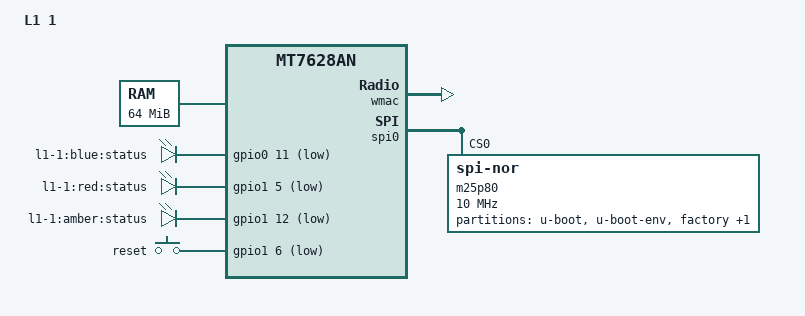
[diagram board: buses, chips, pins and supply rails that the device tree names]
/dts-v1/;

#include "mt7628an.dtsi"

#include <dt-bindings/gpio/gpio.h>
#include <dt-bindings/input/input.h>

/ {
	compatible = "cmcc,l1-1", "mediatek,mt7628an-soc";
	model = "L1	1";

	aliases {
		led-boot = &led_blue;
		led-failsafe = &led_blue;
		led-running = &led_blue;
		led-upgrade = &led_blue;
	};

	chosen {
		bootargs = "console=ttyS0,115200";
	};

	memory@0 {
		device_type = "memory";
		reg = <0x0 0x4000000>;
	};

	leds {
		compatible = "gpio-leds";

		led_blue: status_blue {
			label = "l1-1:blue:status";
			gpios = <&gpio0 11 GPIO_ACTIVE_LOW>;
		};
		status_red {
			label = "l1-1:red:status";
			gpios = <&gpio1 5 GPIO_ACTIVE_LOW>;
		};
		status_amber {
			label = "l1-1:amber:status";
			gpios = <&gpio1 12 GPIO_ACTIVE_LOW>;
		};
	};

	keys {
		compatible = "gpio-keys-polled";
		poll-interval = <20>;

		reset {
			label = "reset";
			gpios = <&gpio1 6 GPIO_ACTIVE_LOW>;
			linux,code = <KEY_RESTART>;
		};
	};
};

&pinctrl {
	state_default: pinctrl0 {
		gpio {
			ralink,group = "refclk", "wled_an", "gpio";
			ralink,function = "gpio";
		};
	};
};

&wmac {
	status = "okay";
};

&ethernet {
	mtd-mac-address = <&factory 0x28>;
};

&spi0 {
	status = "okay";

	m25p80@0 {
		compatible = "jedec,spi-nor";
		reg = <0>;
		spi-max-frequency = <10000000>;

		partitions {
			compatible = "fixed-partitions";
			#address-cells = <1>;
			#size-cells = <1>;

			partition@0 {
				label = "u-boot";
				reg = <0x0 0x30000>;
				read-only;
			};

			partition@30000 {
				label = "u-boot-env";
				reg = <0x30000 0x10000>;
				read-only;
			};

			factory: partition@40000 {
				label = "factory";
				reg = <0x40000 0x10000>;
				read-only;
			};

			partition@50000 {
				compatible = "denx,uimage";
				label = "firmware";
				reg = <0x50000 0x7B0000>;
			};
		};
	};
};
